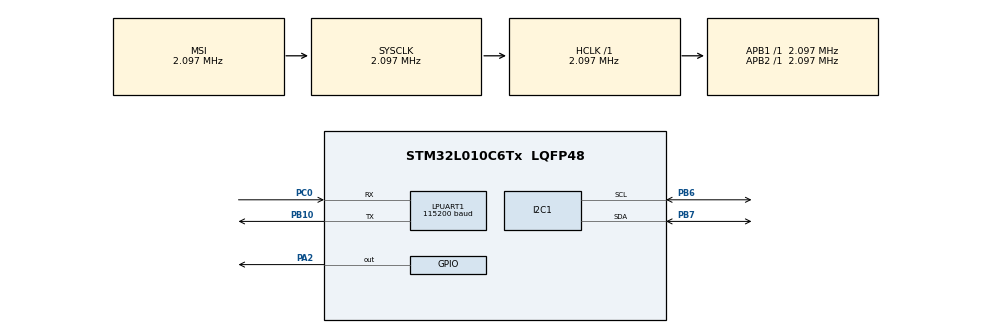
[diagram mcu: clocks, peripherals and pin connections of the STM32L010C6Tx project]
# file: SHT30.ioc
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LPUART1.BaudRate=115200
LPUART1.WordLength=UART_WORDLENGTH_8B
Mcu.Family=STM32L0
Mcu.Name=STM32L010C6Tx
Mcu.Package=LQFP48
PA13.Mode=Serial_Wire
PA13.Signal=SYS_SWDIO
PA14.Mode=Serial_Wire
PA14.Signal=SYS_SWCLK
PA2.Signal=GPIO_Output
PB10.Mode=Asynchronous
PB10.Signal=LPUART1_TX
PB6.Mode=I2C
PB6.Signal=I2C1_SCL
PB7.Mode=I2C
PB7.Signal=I2C1_SDA
PC0.Mode=Asynchronous
PC0.Signal=LPUART1_RX
PH0-OSC_IN.Mode=HSE-External-Oscillator
PH0-OSC_IN.Signal=RCC_OSC_IN
PH1-OSC_OUT.Mode=HSE-External-Oscillator
PH1-OSC_OUT.Signal=RCC_OSC_OUT
ProjectManager.HeapSize=0x200
ProjectManager.StackSize=0x400
ProjectManager.TargetToolchain=STM32CubeIDE
RCC.AHBFreq_Value=2097000
RCC.APB1Freq_Value=2097000
RCC.APB1TimFreq_Value=2097000
RCC.APB2Freq_Value=2097000
RCC.APB2TimFreq_Value=2097000
RCC.HCLKFreq_Value=2097000
RCC.HSE_VALUE=8000000
RCC.HSI16_VALUE=16000000
RCC.HSI_VALUE=16000000
RCC.LSE_VALUE=32768
RCC.MSI_VALUE=2097000
RCC.SYSCLKFreq_VALUE=2097000
RCC.VCOOutputFreq_Value=48000000
board=custom

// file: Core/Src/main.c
/* USER CODE BEGIN Header */
/**
  ******************************************************************************
  * @file           : main.c
  * @brief          : Main program body
  ******************************************************************************
  * @attention
  *
  * <h2><center>&copy; Copyright (c) 2021 STMicroelectronics.
  * All rights reserved.</center></h2>
  *
  * This software component is licensed by ST under BSD 3-Clause license,
  * the "License"; You may not use this file except in compliance with the
  * License. You may obtain a copy of the License at:
  *                        opensource.org/licenses/BSD-3-Clause
  *
  ******************************************************************************
  */
/* USER CODE END Header */
#include "main.h"

/* USER CODE BEGIN Includes */
#include <string.h>
#include <stdio.h>
#include "sht3x.h"
#include <stdlib.h>
#define printf(...)  HAL_UART_Transmit((UART_HandleTypeDef *)&hlpuart1, (uint8_t *)u_buf,\
		                                sprintf((char*)u_buf,__VA_ARGS__), 0xFFFF);
uint8_t u_buf[256];
/* USER CODE END Includes */

I2C_HandleTypeDef hi2c1;

UART_HandleTypeDef hlpuart1;

void SystemClock_Config(void);
static void MX_GPIO_Init(void);
static void MX_I2C1_Init(void);
static void MX_LPUART1_UART_Init(void);

int main(void)
{

  /* MCU Configuration--------------------------------------------------------*/

  /* Reset of all peripherals, Initializes the Flash interface and the Systick. */
  HAL_Init();

  /* Configure the system clock */
  SystemClock_Config();

  /* Initialize all configured peripherals */
  MX_GPIO_Init();
  MX_I2C1_Init();
  MX_LPUART1_UART_Init();
  /* USER CODE BEGIN 2 */
  printf("basladi\r\n");
  sensirion_i2c_init();

  /*while (sht3x_probe(SHT3X_I2C_ADDR_DFLT) != STATUS_OK) {
	  printf("SHT sensor probing failed\n");

  }*/
  printf("SHT sensor probing successful\n");

  /* USER CODE END 2 */

  /* Infinite loop */
  while (1)
  {

    /* USER CODE BEGIN 3 */

	  char buffer[100];

	  int32_t temperature, humidity;

      int8_t ret = sht3x_measure_blocking_read(SHT3X_I2C_ADDR_DFLT,&temperature, &humidity);

      if (ret == STATUS_OK) {
     	  printf("t: %d\r\n",temperature/ 100);
     	  //printf("measured temperature: %0.2f degreeCelsius, measured humidity: %0.2f percentRH\n",temperature / 1000.0f, humidity / 1000.0f);
     	  printf("n: %d\r\n",humidity/ 100);

      }
      else {
    	  printf("error reading measurement\n");

      }
      sensirion_sleep_usec(1000000);

  }
  /* USER CODE END 3 */
}

void SystemClock_Config(void)
{
  RCC_OscInitTypeDef RCC_OscInitStruct = {0};
  RCC_ClkInitTypeDef RCC_ClkInitStruct = {0};
  RCC_PeriphCLKInitTypeDef PeriphClkInit = {0};

  /** Configure the main internal regulator output voltage
  */
  __HAL_PWR_VOLTAGESCALING_CONFIG(PWR_REGULATOR_VOLTAGE_SCALE1);
  /** Initializes the RCC Oscillators according to the specified parameters
  * in the RCC_OscInitTypeDef structure.
  */
  RCC_OscInitStruct.OscillatorType = RCC_OSCILLATORTYPE_MSI;
  RCC_OscInitStruct.MSIState = RCC_MSI_ON;
  RCC_OscInitStruct.MSICalibrationValue = 0;
  RCC_OscInitStruct.MSIClockRange = RCC_MSIRANGE_5;
  RCC_OscInitStruct.PLL.PLLState = RCC_PLL_NONE;
  if (HAL_RCC_OscConfig(&RCC_OscInitStruct) != HAL_OK)
  {
    Error_Handler();
  }
  /** Initializes the CPU, AHB and APB buses clocks
  */
  RCC_ClkInitStruct.ClockType = RCC_CLOCKTYPE_HCLK|RCC_CLOCKTYPE_SYSCLK
                              |RCC_CLOCKTYPE_PCLK1|RCC_CLOCKTYPE_PCLK2;
  RCC_ClkInitStruct.SYSCLKSource = RCC_SYSCLKSOURCE_MSI;
  RCC_ClkInitStruct.AHBCLKDivider = RCC_SYSCLK_DIV1;
  RCC_ClkInitStruct.APB1CLKDivider = RCC_HCLK_DIV1;
  RCC_ClkInitStruct.APB2CLKDivider = RCC_HCLK_DIV1;

  if (HAL_RCC_ClockConfig(&RCC_ClkInitStruct, FLASH_LATENCY_0) != HAL_OK)
  {
    Error_Handler();
  }
  PeriphClkInit.PeriphClockSelection = RCC_PERIPHCLK_LPUART1|RCC_PERIPHCLK_I2C1;
  PeriphClkInit.Lpuart1ClockSelection = RCC_LPUART1CLKSOURCE_PCLK1;
  PeriphClkInit.I2c1ClockSelection = RCC_I2C1CLKSOURCE_PCLK1;
  if (HAL_RCCEx_PeriphCLKConfig(&PeriphClkInit) != HAL_OK)
  {
    Error_Handler();
  }
}

static void MX_I2C1_Init(void)
{

  hi2c1.Instance = I2C1;
  hi2c1.Init.Timing = 0x00000708;
  hi2c1.Init.OwnAddress1 = 0;
  hi2c1.Init.AddressingMode = I2C_ADDRESSINGMODE_7BIT;
  hi2c1.Init.DualAddressMode = I2C_DUALADDRESS_DISABLE;
  hi2c1.Init.OwnAddress2 = 0;
  hi2c1.Init.OwnAddress2Masks = I2C_OA2_NOMASK;
  hi2c1.Init.GeneralCallMode = I2C_GENERALCALL_DISABLE;
  hi2c1.Init.NoStretchMode = I2C_NOSTRETCH_DISABLE;
  if (HAL_I2C_Init(&hi2c1) != HAL_OK)
  {
    Error_Handler();
  }
  /** Configure Analogue filter
  */
  if (HAL_I2CEx_ConfigAnalogFilter(&hi2c1, I2C_ANALOGFILTER_ENABLE) != HAL_OK)
  {
    Error_Handler();
  }
  /** Configure Digital filter
  */
  if (HAL_I2CEx_ConfigDigitalFilter(&hi2c1, 0) != HAL_OK)
  {
    Error_Handler();
  }

}

static void MX_LPUART1_UART_Init(void)
{

  hlpuart1.Instance = LPUART1;
  hlpuart1.Init.BaudRate = 115200;
  hlpuart1.Init.WordLength = UART_WORDLENGTH_8B;
  hlpuart1.Init.StopBits = UART_STOPBITS_1;
  hlpuart1.Init.Parity = UART_PARITY_NONE;
  hlpuart1.Init.Mode = UART_MODE_TX_RX;
  hlpuart1.Init.HwFlowCtl = UART_HWCONTROL_NONE;
  hlpuart1.Init.OneBitSampling = UART_ONE_BIT_SAMPLE_DISABLE;
  hlpuart1.AdvancedInit.AdvFeatureInit = UART_ADVFEATURE_NO_INIT;
  if (HAL_UART_Init(&hlpuart1) != HAL_OK)
  {
    Error_Handler();
  }

}

static void MX_GPIO_Init(void)
{
  GPIO_InitTypeDef GPIO_InitStruct = {0};

  /* GPIO Ports Clock Enable */
  __HAL_RCC_GPIOC_CLK_ENABLE();
  __HAL_RCC_GPIOH_CLK_ENABLE();
  __HAL_RCC_GPIOA_CLK_ENABLE();
  __HAL_RCC_GPIOB_CLK_ENABLE();

  /*Configure GPIO pin Output Level */
  HAL_GPIO_WritePin(GPIOA, GPIO_PIN_2, GPIO_PIN_RESET);

  /*Configure GPIO pin : PA2 */
  GPIO_InitStruct.Pin = GPIO_PIN_2;
  GPIO_InitStruct.Mode = GPIO_MODE_OUTPUT_PP;
  GPIO_InitStruct.Pull = GPIO_NOPULL;
  GPIO_InitStruct.Speed = GPIO_SPEED_FREQ_LOW;
  HAL_GPIO_Init(GPIOA, &GPIO_InitStruct);

}

void Error_Handler(void)
{
  __disable_irq();
  while (1)
  {
  }
}

/************************ (C) COPYRIGHT STMicroelectronics *****END OF FILE****/
